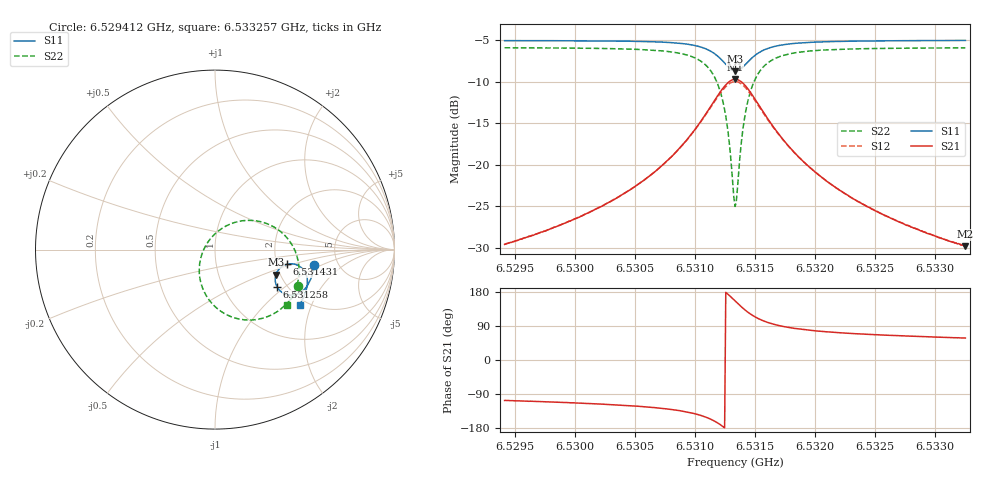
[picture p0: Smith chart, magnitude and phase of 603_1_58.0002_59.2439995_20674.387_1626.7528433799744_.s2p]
#  HZ  S  RI  R  50.00
! Rohde & Schwarz Vector Network Analyzer
! Rohde-Schwarz,ZNB20-2Port,1311601062101988,3.16
! Created: UTC 3/21/2024, 1:17:18 AM
! freq[Hz]  re:S11  im:S11  re:S21  im:S21  re:S12  im:S12  re:S22  im:S22
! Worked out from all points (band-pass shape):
!   401 points, 6.529412 GHz to 6.533257 GHz, reference 50 ohm
!   highest |S21| = -9.69 dB at 6.531334 GHz (marker M1); lowest = -29.8 dB at 6.533257 GHz (marker M2)
!   |S21| within 3 dB of the highest: 6.531144 GHz to 6.531528 GHz (384 kHz wide, 0.00588 % of centre)
!   lowest |S11| = -8.7 dB at 6.531334 GHz (marker M3), VSWR 2.16, Z = 95 - j30.5 ohm
!   |S11| at or under -10 dB: nowhere
!   |S22| runs from -25.0 to -5.9 dB; largest |S21 - S12| = 0.013
!   S11 on the Smith chart (normalised r, x): 6.529412 GHz: 3.31, -0.85; 6.531258 GHz: 1.78, -0.88; 6.531431 GHz: 2.28, -0.45; 6.533257 GHz: 1.83, -1.64
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6.5294115e9  0.5537 -0.0878  -0.00961 -0.0317  -0.0101 -0.0316  0.4652 -0.204
6.5300557e9  0.5411 -0.1419  -0.0198 -0.0449  -0.0212 -0.0445  0.4301 -0.264
6.5304307e9  0.5274 -0.1777  -0.0344 -0.0593  -0.0361 -0.0587  0.3925 -0.3084
6.5306999e9  0.5098 -0.2078  -0.0572 -0.0764  -0.0594 -0.0747  0.3414 -0.3488
6.5309306e9  0.4787 -0.2378  -0.103 -0.0962  -0.1059 -0.0924  0.2494 -0.3864
6.5310941e9  0.4298 -0.2542  -0.1789 -0.0984  -0.1809 -0.0907  0.1116 -0.3812
6.5311902e9  0.381 -0.2432  -0.2539 -0.0623  -0.2516 -0.0517  -0.0108 -0.3066
6.5312287e9  0.3597 -0.2267  -0.285 -0.0275  -0.2796 -0.0167  -0.0565 -0.2425
6.5312575e9  0.3461 -0.2082  -0.3034 0.00847  -0.2954 0.0186  -0.0803 -0.179
6.5312864e9  0.3372 -0.1843  -0.3129 0.0525  -0.3025 0.0605  -0.0876 -0.1048
6.5313152e9  0.3359 -0.1572  -0.3101 0.1006  -0.2978 0.1057  -0.0734 -0.0268
6.5313344e9  0.3396 -0.139  -0.3 0.1323  -0.2875 0.1353  -0.0512 0.023
6.5313537e9  0.3473 -0.1221  -0.2838 0.1614  -0.2717 0.1622  -0.0196 0.0677
6.5313921e9  0.3714 -0.0954  -0.2378 0.2062  -0.2279 0.2037  0.0629 0.1323
6.5314306e9  0.4009 -0.0817  -0.1848 0.2291  -0.1775 0.2251  0.1542 0.1607
6.5314979e9  0.4474 -0.0823  -0.1041 0.2284  -0.1005 0.2247  0.2888 0.1447
6.531594e9  0.4873 -0.1064  -0.036 0.1926  -0.0344 0.1906  0.398 0.0693
6.5317382e9  0.5098 -0.1446  0.00407 0.1413  0.00522 0.1405  0.4556 -0.0335
6.5319786e9  0.5149 -0.1891  0.0199 0.0917  0.0209 0.0913  0.4676 -0.1356
6.5323055e9  0.5072 -0.2292  0.0216 0.0595  0.0227 0.0594  0.4534 -0.2091
6.5326228e9  0.496 -0.2587  0.0202 0.0437  0.021 0.0433  0.4356 -0.2529
6.5332574e9  0.4708 -0.3071  0.0172 0.0274  0.0176 0.0272  0.4007 -0.311
